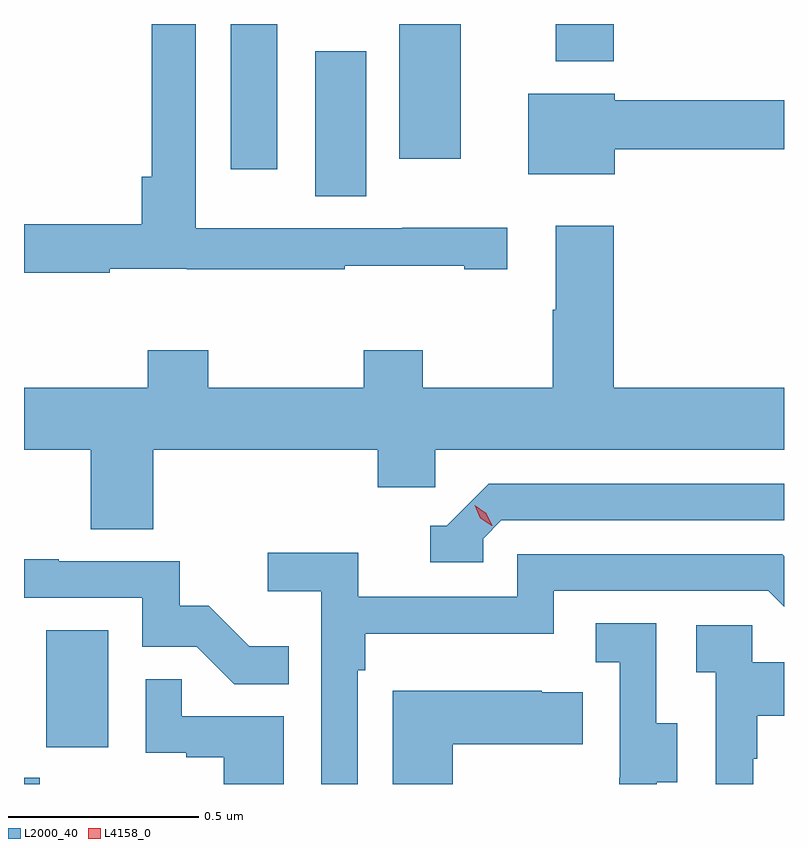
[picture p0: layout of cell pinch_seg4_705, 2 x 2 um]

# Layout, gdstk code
import gdstk
lib = gdstk.Library(unit=1e-6, precision=1e-09)
def R(c, l, rs):  # rectangles x0, y0, x1, y1
    for r in rs: c.add(gdstk.rectangle(r[:2], r[2:], *l))
def P(c, l, *ps):  # polygons
    for p in ps: c.add(gdstk.Polygon(p, *l))
L2000_40 = (2000, 40)
L4158_0 = (4158, 0)

pinch_seg4_705 = lib.new_cell('pinch_seg4_705')
R(pinch_seg4_705, L2000_40, [(1082.122,750.653,1082.164,750.669), (1082.18,750.75,1082.344,751.057), (1082.888,752.2,1083.022,752.581), (1082.666,752.271,1082.788,752.653), (1083.11,752.298,1083.271,752.653), (1083.521,752.555,1083.674,752.653)])
P(pinch_seg4_705, L2000_40, [(1082.348,752.009),(1082.55,752.009),(1082.55,752.007),(1082.966,752.007),(1082.966,752.017),(1083.281,752.017),(1083.281,752.007),(1083.394,752.007),(1083.394,752.117),(1083.118,752.117),(1083.118,752.115),(1082.784,752.115),(1082.784,752.116),(1082.574,752.116),(1082.574,752.653),(1082.458,752.653),(1082.458,752.251),(1082.432,752.251),(1082.432,752.126),(1082.122,752.126),(1082.122,751.998),(1082.348,751.998)],
  [(1083.676,752.323),(1084.122,752.323),(1084.122,752.452),(1083.676,752.452),(1083.676,752.47),(1083.449,752.47),(1083.449,752.258),(1083.676,752.258)],
  [(1082.462,751.532),(1083.053,751.532),(1083.053,751.434),(1083.204,751.434),(1083.204,751.532),(1084.122,751.532),(1084.122,751.696),(1083.674,751.696),(1083.674,752.122),(1083.521,752.122),(1083.521,751.901),(1083.514,751.901),(1083.514,751.696),(1083.171,751.696),(1083.171,751.795),(1083.016,751.795),(1083.016,751.696),(1082.607,751.696),(1082.607,751.795),(1082.447,751.795),(1082.447,751.696),(1082.122,751.696),(1082.122,751.532),(1082.297,751.532),(1082.297,751.324),(1082.462,751.324)],
  [(1083.33,751.299),(1083.378,751.347),(1084.122,751.347),(1084.122,751.443),(1083.345,751.443),(1083.234,751.332),(1083.191,751.332),(1083.191,751.236),(1083.33,751.236)],
  [(1083,750.953),(1083.02,750.953),(1083.02,751.049),(1083.516,751.049),(1083.516,751.161),(1084.08,751.161),(1084.122,751.119),(1084.122,751.252),(1084.117,751.257),(1083.42,751.257),(1083.42,751.146),(1083.002,751.146),(1083.002,751.262),(1082.763,751.262),(1082.763,751.16),(1082.904,751.16),(1082.904,750.653),(1083,750.653)],
  [(1082.819,751.015),(1082.715,751.015),(1082.608,751.122),(1082.532,751.122),(1082.532,751.239),(1082.213,751.239),(1082.213,751.244),(1082.122,751.244),(1082.122,751.143),(1082.433,751.143),(1082.433,751.014),(1082.577,751.014),(1082.675,750.916),(1082.819,750.916)],
  [(1083.787,750.658),(1083.841,750.658),(1083.841,750.813),(1083.786,750.813),(1083.786,751.076),(1083.627,751.076),(1083.627,750.973),(1083.69,750.973),(1083.69,750.669),(1083.689,750.669),(1083.689,750.653),(1083.787,750.653)],
  [(1084.041,750.719),(1084.051,750.719),(1084.051,750.833),(1084.122,750.833),(1084.122,750.973),(1084.038,750.973),(1084.038,751.071),(1083.891,751.071),(1083.891,750.947),(1083.942,750.947),(1083.942,750.653),(1084.041,750.653)],
  [(1082.806,750.831),(1082.537,750.831),(1082.537,750.929),(1082.442,750.929),(1082.442,750.735),(1082.549,750.735),(1082.549,750.723),(1082.648,750.723),(1082.648,750.653),(1082.806,750.653)],
  [(1083.25,750.758),(1083.593,750.758),(1083.593,750.895),(1083.485,750.895),(1083.485,750.898),(1083.092,750.898),(1083.092,750.653),(1083.25,750.653)])
P(pinch_seg4_705, L4158_0, [(1083.353,751.332),(1083.323,751.353),(1083.308,751.386),(1083.308,751.386),(1083.308,751.386),(1083.338,751.366),(1083.354,751.333),(1083.354,751.332)])

lib.write_gds('pinch_seg4_705.gds')
